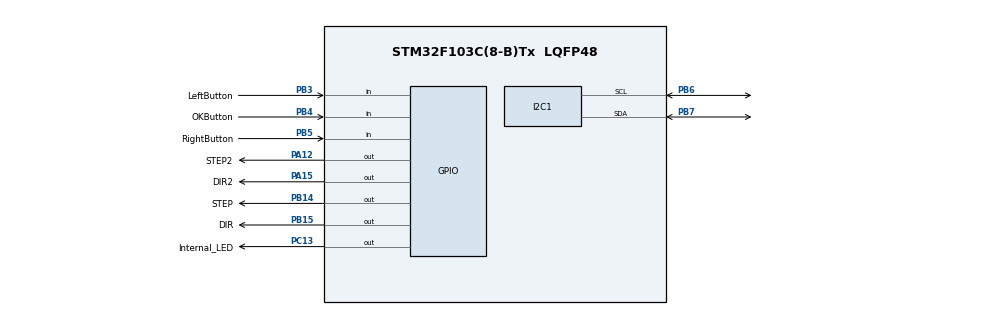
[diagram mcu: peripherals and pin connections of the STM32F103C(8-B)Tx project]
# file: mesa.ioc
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Mcu.Family=STM32F1
Mcu.Name=STM32F103C(8-B)Tx
Mcu.Package=LQFP48
NVIC.PriorityGroup=NVIC_PRIORITYGROUP_4
PA12.GPIO_Label=STEP2
PA12.Signal=GPIO_Output
PA13.Mode=Serial_Wire
PA13.Signal=SYS_JTMS-SWDIO
PA14.Mode=Serial_Wire
PA14.Signal=SYS_JTCK-SWCLK
PA15.GPIO_Label=DIR2
PA15.Signal=GPIO_Output
PB14.GPIO_Label=STEP
PB14.Signal=GPIO_Output
PB15.GPIO_Label=DIR
PB15.Signal=GPIO_Output
PB3.GPIO_Label=LeftButton
PB3.Signal=GPIO_Input
PB4.GPIO_Label=OKButton
PB4.Signal=GPIO_Input
PB5.GPIO_Label=RightButton
PB5.Signal=GPIO_Input
PB6.Mode=I2C
PB6.Signal=I2C1_SCL
PB7.Mode=I2C
PB7.Signal=I2C1_SDA
PC13-TAMPER-RTC.GPIO_Label=Internal_LED
PC13-TAMPER-RTC.PinState=GPIO_PIN_SET
PC13-TAMPER-RTC.Signal=GPIO_Output
ProjectManager.HeapSize=0x200
ProjectManager.StackSize=0x400
ProjectManager.TargetToolchain=STM32CubeIDE
RCC.APB1Freq_Value=8000000
RCC.APB2Freq_Value=8000000
board=custom

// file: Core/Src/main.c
/* USER CODE BEGIN Header */
/**
  ******************************************************************************
  * @file           : main.c
  * @brief          : Main program body
  ******************************************************************************
  * @attention
  *
  * Copyright (c) 2025 STMicroelectronics.
  * All rights reserved.
  *
  * This software is licensed under terms that can be found in the LICENSE file
  * in the root directory of this software component.
  * If no LICENSE file comes with this software, it is provided AS-IS.
  *
  ******************************************************************************
  */
/* USER CODE END Header */
#include "main.h"

/* USER CODE BEGIN Includes */
#include "liquidcrystal_i2c.h"
#include "mesa_funcoes.h"
#include "stdlib.h"
#include "stdint.h"

/* USER CODE END Includes */

I2C_HandleTypeDef hi2c1;

void SystemClock_Config(void);
static void MX_GPIO_Init(void);
static void MX_I2C1_Init(void);

int main(void)
{

  /* MCU Configuration--------------------------------------------------------*/

  /* Reset of all peripherals, Initializes the Flash interface and the Systick. */
  HAL_Init();

  /* Configure the system clock */
  SystemClock_Config();

  /* Initialize all configured peripherals */
  MX_GPIO_Init();
  MX_I2C1_Init();
  /* USER CODE BEGIN 2 */
  HD44780_Init(2);

  uint8_t degree_char[8] = {
		  0b00110,
		  0b01001,
		  0b01001,
		  0b00110,
		  0b00000,
		  0b00000,
		  0b00000,
		  0b00000
  };
  uint8_t degree = 200;
  HD44780_CreateSpecialChar(degree, degree_char);

  int LeftButton, RightButton, OKButton;
  int checkTelaRun, checkAngulo1, checkAngulo2, checkTelaInicial = 0, checkTelaCalib, checkCalibMotor1, checkCalibMotor2;
  int angulo1 = 0, angulo2 = 0, eixos, x = 0, angulo1real = 0, angulo2real = 0,passos1real = 0;

  char snum1[4], snum2[4];
  itoa(0, snum1, 10);
  itoa(0, snum2, 10);

  TelaInicial();

  HAL_GPIO_WritePin(Internal_LED_GPIO_Port, Internal_LED_Pin, 0);

  while (checkTelaInicial == 0)
  {
	  LeftButton = HAL_GPIO_ReadPin(LeftButton_GPIO_Port, LeftButton_Pin);
	  RightButton = HAL_GPIO_ReadPin(RightButton_GPIO_Port, RightButton_Pin);
	  OKButton = HAL_GPIO_ReadPin(OKButton_GPIO_Port, OKButton_Pin);

	  if ((RightButton == 0) | (LeftButton == 0) | (OKButton == 0))
	  {
		  checkTelaInicial = 1;
	  }
  }

  TelaModo();
  HAL_Delay(1000);

  /* USER CODE END 2 */

  /* Infinite loop */
  /* USER CODE BEGIN WHILE */
  while (1)
  {
		TelaModo();

		LeftButton = HAL_GPIO_ReadPin(LeftButton_GPIO_Port, LeftButton_Pin);
		RightButton = HAL_GPIO_ReadPin(RightButton_GPIO_Port, RightButton_Pin);
		OKButton = HAL_GPIO_ReadPin(OKButton_GPIO_Port, OKButton_Pin);

		if (LeftButton == 0)
		{
			checkTelaCalib = 0;
			TelaCalib1();

			while (checkTelaCalib == 0)
			{
				LeftButton = HAL_GPIO_ReadPin(LeftButton_GPIO_Port, LeftButton_Pin);
				RightButton = HAL_GPIO_ReadPin(RightButton_GPIO_Port, RightButton_Pin);
				OKButton = HAL_GPIO_ReadPin(OKButton_GPIO_Port, OKButton_Pin);

				if (LeftButton == 0) // motor 1
				{
					TelaCalib2();
					checkCalibMotor1 = 0;

					while(checkCalibMotor1 == 0)
					{
						LeftButton = HAL_GPIO_ReadPin(LeftButton_GPIO_Port, LeftButton_Pin);
						RightButton = HAL_GPIO_ReadPin(RightButton_GPIO_Port, RightButton_Pin);
						OKButton = HAL_GPIO_ReadPin(OKButton_GPIO_Port, OKButton_Pin);

						if (LeftButton == 0)
						{
							HAL_GPIO_WritePin(DIR_GPIO_Port, DIR_Pin, 0);

							HAL_GPIO_WritePin(STEP_GPIO_Port, STEP_Pin, 1);
							HAL_Delay(2);
							HAL_GPIO_WritePin(STEP_GPIO_Port, STEP_Pin, 0);
							HAL_Delay(2);
						}
						if (RightButton == 0)
						{
							HAL_GPIO_WritePin(DIR_GPIO_Port, DIR_Pin, 1);

							HAL_GPIO_WritePin(STEP_GPIO_Port, STEP_Pin, 1);
							HAL_Delay(2);
							HAL_GPIO_WritePin(STEP_GPIO_Port, STEP_Pin, 0);
							HAL_Delay(2);
						}
						if (OKButton == 0)
						{
							angulo1real = 0;
							checkCalibMotor1 = 1;
							checkTelaCalib = 1;
							HD44780_Clear();
						}
					}
				}

				if (RightButton == 0) // motor 2
				{
					TelaCalib2();
					checkCalibMotor2 = 0;

					while(checkCalibMotor2 == 0)
					{
						LeftButton = HAL_GPIO_ReadPin(LeftButton_GPIO_Port, LeftButton_Pin);
						RightButton = HAL_GPIO_ReadPin(RightButton_GPIO_Port, RightButton_Pin);
						OKButton = HAL_GPIO_ReadPin(OKButton_GPIO_Port, OKButton_Pin);

						if (LeftButton == 0)
						{
							HAL_GPIO_WritePin(DIR2_GPIO_Port, DIR2_Pin, 0);

							HAL_GPIO_WritePin(STEP2_GPIO_Port, STEP2_Pin, 1);
							HAL_Delay(2);
							HAL_GPIO_WritePin(STEP2_GPIO_Port, STEP2_Pin, 0);
							HAL_Delay(2);
						}
						if (RightButton == 0)
						{
							HAL_GPIO_WritePin(DIR2_GPIO_Port, DIR2_Pin, 1);
							HAL_GPIO_WritePin(STEP2_GPIO_Port, STEP2_Pin, 1);
							HAL_Delay(2);
							HAL_GPIO_WritePin(STEP2_GPIO_Port, STEP2_Pin, 0);
							HAL_Delay(2);
						}
						if (OKButton == 0)
						{
							angulo2real = 0;
							checkCalibMotor2 = 1;
							checkTelaCalib = 1;
							HD44780_Clear();
						}
					}
				}
			}
		}

		if (RightButton == 0)
		{
			checkTelaRun = 0;
			eixos = 0;
			TelaRun();

			while (checkTelaRun == 0)
			{
				checkAngulo1 = 0;
				checkAngulo2 = 0;

				LeftButton = HAL_GPIO_ReadPin(LeftButton_GPIO_Port, LeftButton_Pin);
				RightButton = HAL_GPIO_ReadPin(RightButton_GPIO_Port, RightButton_Pin);
				OKButton = HAL_GPIO_ReadPin(OKButton_GPIO_Port, OKButton_Pin);

				if (RightButton == 0) eixos = 2;
				if (LeftButton == 0) eixos = 1;

				if (eixos != 0)
				{
					HD44780_Clear();
					HAL_Delay(300);

					x = 0;
					while (checkAngulo1 == 0)
					{
						HD44780_SetCursor(1, 0);
						HD44780_PrintStr("Angulo motor 1");

						HD44780_SetCursor(0, 1);
						HD44780_PrintStr(" <-");
						HD44780_SetCursor(9-x, 1);
						HD44780_PrintStr(snum1);
						HD44780_PrintSpecialChar(0xDF);
						HD44780_PrintStr("  -> ");

						LeftButton = HAL_GPIO_ReadPin(LeftButton_GPIO_Port, LeftButton_Pin);
						RightButton = HAL_GPIO_ReadPin(RightButton_GPIO_Port, RightButton_Pin);
						OKButton = HAL_GPIO_ReadPin(OKButton_GPIO_Port, OKButton_Pin);

						if ((LeftButton == 0) && (angulo1 > -180))
							{
								HAL_Delay(150);
								angulo1--;
							}
						if ((RightButton == 0) && (angulo1 < 180))
							{
								HAL_Delay(150);
								angulo1++;
							}
						if(OKButton == 0)
							{
								HAL_Delay(150);
								HD44780_Clear();
								checkAngulo1 = 1;
							}

						x = 0;
						if ((angulo1>9)|(angulo1<0)) x = 1;
						if ((angulo1<-9)|(angulo1>99)) x = 2;
						if (angulo1<-99) x = 3;

						if ((angulo1>=-99) && (angulo1<-9))
						{
							HD44780_SetCursor(6, 1);
							HD44780_PrintStr(" ");
						}
						if ((angulo1>=-9) && (angulo1<0))
						{
							HD44780_SetCursor(7, 1);
							HD44780_PrintStr(" ");
						}
						if (angulo1==0)
						{
							HD44780_SetCursor(8, 1);
							HD44780_PrintStr(" ");
						}

						if ((angulo1<100) && (angulo1>=10))
						{
							HD44780_SetCursor(7, 1);
							HD44780_PrintStr(" ");
						}
						if ((angulo1<10) && (angulo1>0))
						{
							HD44780_SetCursor(8, 1);
							HD44780_PrintStr(" ");
						}
						itoa(angulo1, snum1, 10);
					}

					HAL_Delay(300);

					if (eixos == 2)
					{
						x = 0;
						while (checkAngulo2 == 0)
						{
							HD44780_SetCursor(1, 0);
							HD44780_PrintStr("Angulo motor 2");

							HD44780_SetCursor(0, 1);
							HD44780_PrintStr(" <-");
							HD44780_SetCursor(9-x, 1);
							HD44780_PrintStr(snum2);
							HD44780_PrintSpecialChar(0xDF);
							HD44780_PrintStr("  -> ");

							LeftButton = HAL_GPIO_ReadPin(LeftButton_GPIO_Port, LeftButton_Pin);
							RightButton = HAL_GPIO_ReadPin(RightButton_GPIO_Port, RightButton_Pin);
							OKButton = HAL_GPIO_ReadPin(OKButton_GPIO_Port, OKButton_Pin);

							if ((LeftButton == 0) && (angulo2 > -180))
								{
									HAL_Delay(150);
									angulo2--;
								}
							if ((RightButton == 0) && (angulo2 < 180))
								{
									HAL_Delay(150);
									angulo2++;
								}
							if(OKButton == 0)
								{
									HAL_Delay(150);
									HD44780_Clear();
									checkAngulo2 = 1;
								}

							x = 0;
							if ((angulo2>9)|(angulo2<0)) x = 1;
							if ((angulo2<-9)|(angulo2>99)) x = 2;
							if (angulo2<-99) x = 3;

							if ((angulo2>=-99) && (angulo2<-9))
							{
								HD44780_SetCursor(6, 1);
								HD44780_PrintStr(" ");
							}
							if ((angulo2>=-9) && (angulo2<0))
							{
								HD44780_SetCursor(7, 1);
								HD44780_PrintStr(" ");
							}
							if (angulo2==0)
							{
								HD44780_SetCursor(8, 1);
								HD44780_PrintStr(" ");
							}

							if ((angulo2<100) && (angulo2>=10))
							{
								HD44780_SetCursor(7, 1);
								HD44780_PrintStr(" ");
							}
							if ((angulo2<10) && (angulo2>0))
							{
								HD44780_SetCursor(8, 1);
								HD44780_PrintStr(" ");
							}
							itoa(angulo2, snum2, 10);
						}
					}

					//passos1 = abs(3200 * angulo1 / 360);
					passos1real = abs(3200 * (angulo1real - angulo1)/ 360);
					angulo1real = angulo1 - angulo1real;

					if (angulo1<angulo1real) HAL_GPIO_WritePin(DIR_GPIO_Port, DIR_Pin, 1);
					if (angulo1>angulo1real) HAL_GPIO_WritePin(DIR_GPIO_Port, DIR_Pin, 0);

					HD44780_Clear();
					HD44780_SetCursor(0, 0);
					HD44780_PrintStr("   Executando   ");

					for (int i = 0; i <= passos1real; i++)
					{
						HAL_GPIO_WritePin(STEP_GPIO_Port, STEP_Pin, 1);
						HAL_Delay(2);
						HAL_GPIO_WritePin(STEP_GPIO_Port, STEP_Pin, 0);
						HAL_Delay(2);
					}

					/*if (eixos == 2)
					{
						passos2 = 3200 * angulo2 / 360;

						if (angulo2>0) HAL_GPIO_WritePin(DIR2_GPIO_Port, DIR2_Pin, 1);
						if (angulo2<0) HAL_GPIO_WritePin(DIR2_GPIO_Port, DIR2_Pin, 0);

						HD44780_Clear();
						HD44780_SetCursor(0, 0);
						HD44780_PrintStr("   Executando   ");

						for (int i = 0; i <= passos2; i++)
						{
							HAL_GPIO_WritePin(STEP2_GPIO_Port, STEP2_Pin, 1);
							HAL_Delay(2);
							HAL_GPIO_WritePin(STEP2_GPIO_Port, STEP2_Pin, 0);
							HAL_Delay(2);

						}
					}*/

					checkTelaRun = 1;

				}
			}
		}

    /* USER CODE END WHILE */

  }
}

void SystemClock_Config(void)
{
  RCC_OscInitTypeDef RCC_OscInitStruct = {0};
  RCC_ClkInitTypeDef RCC_ClkInitStruct = {0};

  /** Initializes the RCC Oscillators according to the specified parameters
  * in the RCC_OscInitTypeDef structure.
  */
  RCC_OscInitStruct.OscillatorType = RCC_OSCILLATORTYPE_HSI;
  RCC_OscInitStruct.HSIState = RCC_HSI_ON;
  RCC_OscInitStruct.HSICalibrationValue = RCC_HSICALIBRATION_DEFAULT;
  RCC_OscInitStruct.PLL.PLLState = RCC_PLL_NONE;
  if (HAL_RCC_OscConfig(&RCC_OscInitStruct) != HAL_OK)
  {
    Error_Handler();
  }

  /** Initializes the CPU, AHB and APB buses clocks
  */
  RCC_ClkInitStruct.ClockType = RCC_CLOCKTYPE_HCLK|RCC_CLOCKTYPE_SYSCLK
                              |RCC_CLOCKTYPE_PCLK1|RCC_CLOCKTYPE_PCLK2;
  RCC_ClkInitStruct.SYSCLKSource = RCC_SYSCLKSOURCE_HSI;
  RCC_ClkInitStruct.AHBCLKDivider = RCC_SYSCLK_DIV1;
  RCC_ClkInitStruct.APB1CLKDivider = RCC_HCLK_DIV1;
  RCC_ClkInitStruct.APB2CLKDivider = RCC_HCLK_DIV1;

  if (HAL_RCC_ClockConfig(&RCC_ClkInitStruct, FLASH_LATENCY_0) != HAL_OK)
  {
    Error_Handler();
  }
}

static void MX_I2C1_Init(void)
{

  hi2c1.Instance = I2C1;
  hi2c1.Init.ClockSpeed = 100000;
  hi2c1.Init.DutyCycle = I2C_DUTYCYCLE_2;
  hi2c1.Init.OwnAddress1 = 0;
  hi2c1.Init.AddressingMode = I2C_ADDRESSINGMODE_7BIT;
  hi2c1.Init.DualAddressMode = I2C_DUALADDRESS_DISABLE;
  hi2c1.Init.OwnAddress2 = 0;
  hi2c1.Init.GeneralCallMode = I2C_GENERALCALL_DISABLE;
  hi2c1.Init.NoStretchMode = I2C_NOSTRETCH_DISABLE;
  if (HAL_I2C_Init(&hi2c1) != HAL_OK)
  {
    Error_Handler();
  }

}

static void MX_GPIO_Init(void)
{
  GPIO_InitTypeDef GPIO_InitStruct = {0};

  /* GPIO Ports Clock Enable */
  __HAL_RCC_GPIOC_CLK_ENABLE();
  __HAL_RCC_GPIOB_CLK_ENABLE();
  __HAL_RCC_GPIOA_CLK_ENABLE();

  /*Configure GPIO pin Output Level */
  HAL_GPIO_WritePin(Internal_LED_GPIO_Port, Internal_LED_Pin, GPIO_PIN_SET);

  /*Configure GPIO pin Output Level */
  HAL_GPIO_WritePin(GPIOB, STEP_Pin|DIR_Pin, GPIO_PIN_RESET);

  /*Configure GPIO pin Output Level */
  HAL_GPIO_WritePin(GPIOA, STEP2_Pin|DIR2_Pin, GPIO_PIN_RESET);

  /*Configure GPIO pin : Internal_LED_Pin */
  GPIO_InitStruct.Pin = Internal_LED_Pin;
  GPIO_InitStruct.Mode = GPIO_MODE_OUTPUT_PP;
  GPIO_InitStruct.Pull = GPIO_NOPULL;
  GPIO_InitStruct.Speed = GPIO_SPEED_FREQ_LOW;
  HAL_GPIO_Init(Internal_LED_GPIO_Port, &GPIO_InitStruct);

  /*Configure GPIO pins : STEP_Pin DIR_Pin */
  GPIO_InitStruct.Pin = STEP_Pin|DIR_Pin;
  GPIO_InitStruct.Mode = GPIO_MODE_OUTPUT_PP;
  GPIO_InitStruct.Pull = GPIO_NOPULL;
  GPIO_InitStruct.Speed = GPIO_SPEED_FREQ_LOW;
  HAL_GPIO_Init(GPIOB, &GPIO_InitStruct);

  /*Configure GPIO pins : STEP2_Pin DIR2_Pin */
  GPIO_InitStruct.Pin = STEP2_Pin|DIR2_Pin;
  GPIO_InitStruct.Mode = GPIO_MODE_OUTPUT_PP;
  GPIO_InitStruct.Pull = GPIO_NOPULL;
  GPIO_InitStruct.Speed = GPIO_SPEED_FREQ_LOW;
  HAL_GPIO_Init(GPIOA, &GPIO_InitStruct);

  /*Configure GPIO pins : LeftButton_Pin OKButton_Pin RightButton_Pin */
  GPIO_InitStruct.Pin = LeftButton_Pin|OKButton_Pin|RightButton_Pin;
  GPIO_InitStruct.Mode = GPIO_MODE_INPUT;
  GPIO_InitStruct.Pull = GPIO_NOPULL;
  HAL_GPIO_Init(GPIOB, &GPIO_InitStruct);

}

void Error_Handler(void)
{
  __disable_irq();
  while (1)
  {
  }
}
